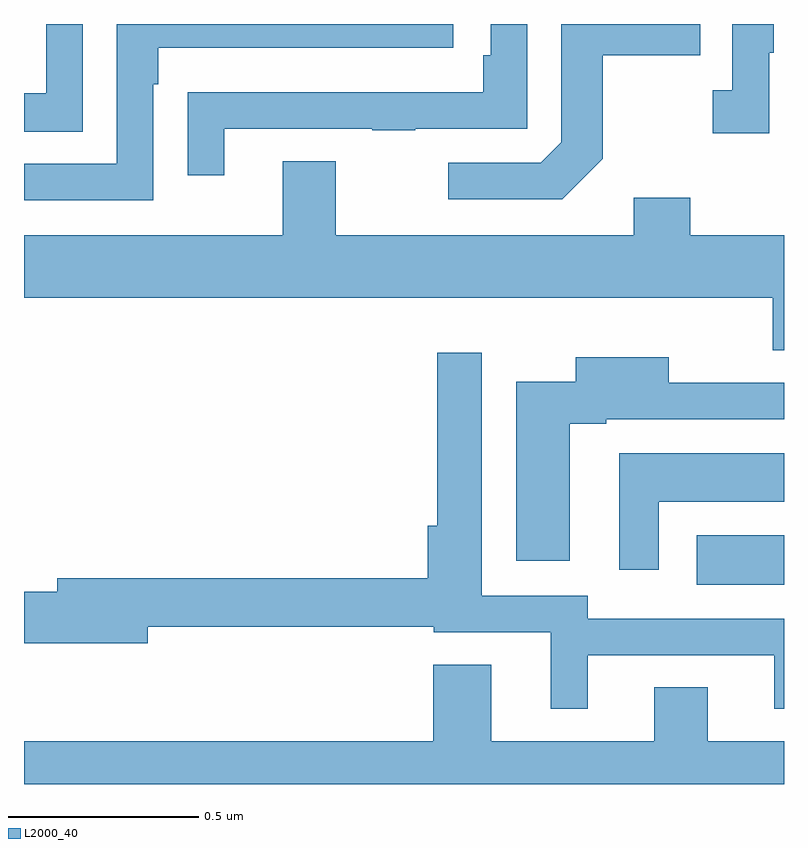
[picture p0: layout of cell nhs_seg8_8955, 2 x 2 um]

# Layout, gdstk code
import gdstk
lib = gdstk.Library(unit=1e-6, precision=1e-09)
def R(c, l, rs):  # rectangles x0, y0, x1, y1
    for r in rs: c.add(gdstk.rectangle(r[:2], r[2:], *l))
def P(c, l, *ps):  # polygons
    for p in ps: c.add(gdstk.Polygon(p, *l))
L2000_40 = (2000, 40)

nhs_seg8_8955 = lib.new_cell('nhs_seg8_8955')
R(nhs_seg8_8955, L2000_40, [(231.771,1102.424,232,1102.555)])
P(nhs_seg8_8955, L2000_40, [(231.523,1103.545),(231.523,1103.818),(231.779,1103.818),(231.779,1103.9),(231.414,1103.9),(231.414,1103.589),(231.36,1103.535),(231.117,1103.535),(231.117,1103.439),(231.417,1103.439)],
  [(230.527,1103.625),(230.917,1103.625),(230.917,1103.62),(231.029,1103.62),(231.029,1103.625),(231.324,1103.625),(231.324,1103.9),(231.228,1103.9),(231.228,1103.818),(231.208,1103.818),(231.208,1103.721),(230.533,1103.721),(230.533,1103.72),(230.431,1103.72),(230.431,1103.502),(230.527,1103.502)],
  [(231.961,1103.825),(231.973,1103.825),(231.973,1103.9),(231.864,1103.9),(231.864,1103.726),(231.813,1103.726),(231.813,1103.613),(231.961,1103.613)],
  [(230.34,1103.741),(230.353,1103.741),(230.353,1103.838),(231.13,1103.838),(231.13,1103.9),(230.244,1103.9),(230.244,1103.532),(230,1103.532),(230,1103.436),(230.34,1103.436)],
  [(230.154,1103.9),(230.058,1103.9),(230.058,1103.718),(230,1103.718),(230,1103.617),(230.154,1103.617)],
  [(232,1103.344),(231.753,1103.344),(231.753,1103.443),(231.605,1103.443),(231.605,1103.344),(230.821,1103.344),(230.821,1103.539),(230.681,1103.539),(230.681,1103.344),(230,1103.344),(230,1103.18),(231.971,1103.18),(231.971,1103.041),(232,1103.041)],
  [(231.484,1102.239),(231.974,1102.239),(231.974,1102.098),(232,1102.098),(232,1102.335),(231.483,1102.335),(231.483,1102.395),(231.204,1102.395),(231.204,1103.035),(231.088,1103.035),(231.088,1102.579),(231.062,1102.579),(231.062,1102.442),(230.087,1102.442),(230.087,1102.406),(230,1102.406),(230,1102.271),(230.326,1102.271),(230.326,1102.314),(231.078,1102.314),(231.078,1102.299),(231.386,1102.299),(231.386,1102.098),(231.484,1102.098)],
  [(231.436,1102.848),(231.532,1102.848),(231.532,1102.86),(232,1102.86),(232,1102.956),(231.697,1102.956),(231.697,1103.023),(231.452,1103.023),(231.452,1102.959),(231.296,1102.959),(231.296,1102.488),(231.436,1102.488)],
  [(231.67,1102.643),(232,1102.643),(232,1102.771),(231.566,1102.771),(231.566,1102.464),(231.67,1102.464)],
  [(232,1102.012),(231.799,1102.012),(231.799,1102.154),(231.659,1102.154),(231.659,1102.012),(231.229,1102.012),(231.229,1102.214),(231.077,1102.214),(231.077,1102.012),(230,1102.012),(230,1101.9),(232,1101.9)])

lib.write_gds('nhs_seg8_8955.gds')
